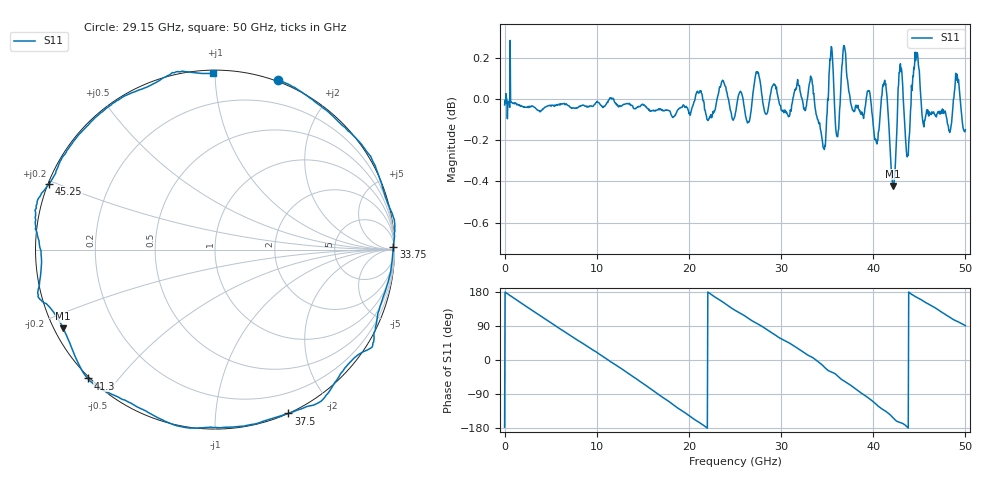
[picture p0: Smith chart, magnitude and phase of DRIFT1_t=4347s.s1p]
!Created with skrf (http://scikit-rf.org).
# Hz S RI R 50.0
!freq ReS11 ImS11
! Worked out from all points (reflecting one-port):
!   1001 points, 300 kHz to 50 GHz, reference 50 ohm
!   lowest |S11| = -0.4 dB at 42.15 GHz (marker M1), VSWR 41.14, Z = 1.29 - j12.2 ohm
!   phase of S11 starts at -177 deg and turns -812 deg over the sweep
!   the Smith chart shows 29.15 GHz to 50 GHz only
!   S11 on the Smith chart (normalised r, x): 29.15 GHz: -0.01, +1.44; 33.75 GHz: open; 37.5 GHz: -0.00, -1.54; 41.3 GHz: -0.00, -0.42; 45.25 GHz: 0.00, +0.19; 50 GHz: 0.02, +0.99
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300000  -0.9957 -0.0463
1.60029e9  -0.893 0.4429
3.35028e9  -0.5712 0.8147
4.800271e9  -0.202 0.9757
6.250262e9  0.1973 0.9776
9.550243e9  0.8912 0.4446
1.115023e10  0.9979 0.0266
1.250022e10  0.9353 -0.3423
1.420021e10  0.6642 -0.7404
1.580021e10  0.2521 -0.9608
1.73502e10  -0.2004 -0.9731
1.875019e10  -0.5869 -0.8019
2.165017e10  -0.9913 -0.1119
2.350016e10  -0.9207 0.4115
2.500015e10  -0.6518 0.7462
2.730014e10  -0.1309 1.007
2.915013e10  0.3538 0.9439
3.125011e10  0.773 0.6328
3.37501e10  0.9936 0.0125
3.560009e10  0.8577 -0.5547
3.750008e10  0.4089 -0.9128
3.945006e10  -0.1671 -0.9908
4.130005e10  -0.7074 -0.7181
4.215005e10  -0.8454 -0.439
4.375004e10  -0.969 -0.0281
4.525003e10  -0.9248 0.3665
4.775001e10  -0.5172 0.8478
5e10  -0.00964 0.983
